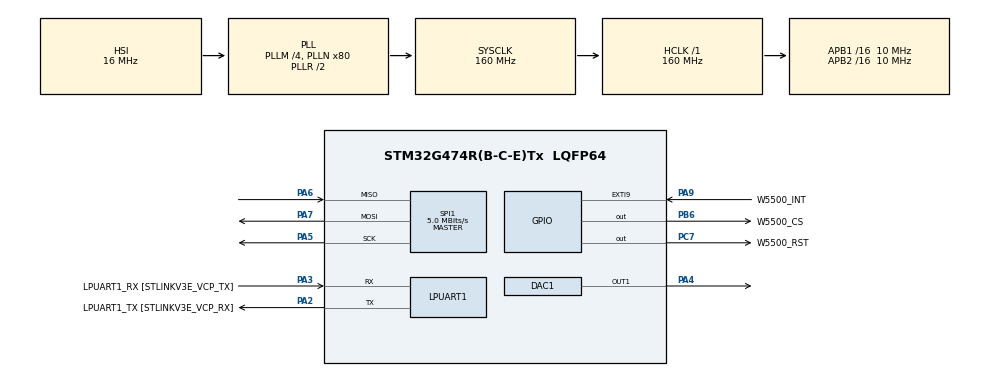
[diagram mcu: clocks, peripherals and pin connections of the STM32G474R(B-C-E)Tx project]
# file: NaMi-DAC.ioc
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DAC1.DAC_HighFrequency_OUT1-DAC_OUT1=DAC_HIGH_FREQUENCY_INTERFACE_MODE_DISABLE
DAC1.DAC_Trigger_OUT1-DAC_OUT1=DAC_TRIGGER_T6_TRGO
Dma.DAC1_CH1.0.Direction=DMA_MEMORY_TO_PERIPH
Dma.DAC1_CH1.0.EventEnable=DISABLE
Dma.DAC1_CH1.0.Instance=DMA1_Channel1
Dma.DAC1_CH1.0.MemDataAlignment=DMA_MDATAALIGN_WORD
Dma.DAC1_CH1.0.MemInc=DMA_MINC_ENABLE
Dma.DAC1_CH1.0.Mode=DMA_NORMAL
Dma.DAC1_CH1.0.PeriphDataAlignment=DMA_PDATAALIGN_WORD
Dma.DAC1_CH1.0.PeriphInc=DMA_PINC_DISABLE
Dma.DAC1_CH1.0.Polarity=HAL_DMAMUX_REQ_GEN_RISING
Dma.DAC1_CH1.0.Priority=DMA_PRIORITY_LOW
Dma.DAC1_CH1.0.RequestNumber=1
Dma.DAC1_CH1.0.SignalID=NONE
Dma.DAC1_CH1.0.SyncEnable=DISABLE
Dma.DAC1_CH1.0.SyncPolarity=HAL_DMAMUX_SYNC_NO_EVENT
Dma.DAC1_CH1.0.SyncRequestNumber=1
Dma.DAC1_CH1.0.SyncSignalID=NONE
Dma.Request0=DAC1_CH1
Mcu.Family=STM32G4
Mcu.Name=STM32G474R(B-C-E)Tx
Mcu.Package=LQFP64
NVIC.DMA1_Channel1_IRQn=true\:0\:0\:false\:false\:true\:false\:true\:true
NVIC.PriorityGroup=NVIC_PRIORITYGROUP_4
NVIC.TIM7_DAC_IRQn=true\:0\:0\:false\:false\:true\:true\:true\:true
PA2.GPIO_Label=LPUART1_TX [STLINKV3E_VCP_RX]
PA2.Mode=Asynchronous
PA2.Signal=LPUART1_TX
PA3.GPIO_Label=LPUART1_RX [STLINKV3E_VCP_TX]
PA3.Mode=Asynchronous
PA3.Signal=LPUART1_RX
PA4.Signal=COMP_DAC11_group
PA5.Mode=Full_Duplex_Master
PA5.Signal=SPI1_SCK
PA6.Mode=Full_Duplex_Master
PA6.Signal=SPI1_MISO
PA7.Mode=Full_Duplex_Master
PA7.Signal=SPI1_MOSI
PA9.GPIO_Label=W5500_INT
PA9.Signal=GPXTI9
PB6.GPIO_Label=W5500_CS
PB6.Signal=GPIO_Output
PC14-OSC32_IN.GPIO_Label=RCC_OSC32_IN
PC14-OSC32_IN.Signal=RCC_OSC32_IN
PC15-OSC32_OUT.GPIO_Label=RCC_OSC32_OUT
PC15-OSC32_OUT.Signal=RCC_OSC32_OUT
PC7.GPIO_Label=W5500_RST
PC7.Signal=GPIO_Output
PF0-OSC_IN.GPIO_Label=RCC_OSC_IN
PF0-OSC_IN.Signal=RCC_OSC_IN
PF1-OSC_OUT.GPIO_Label=RCC_OSC_OUT
PF1-OSC_OUT.Signal=RCC_OSC_OUT
ProjectManager.HeapSize=0x200
ProjectManager.StackSize=0x400
ProjectManager.TargetToolchain=STM32CubeIDE
RCC.ADC12Freq_Value=160000000
RCC.ADC345Freq_Value=160000000
RCC.AHBFreq_Value=160000000
RCC.APB1CLKDivider=RCC_HCLK_DIV16
RCC.APB1Freq_Value=10000000
RCC.APB1TimFreq_Value=20000000
RCC.APB2CLKDivider=RCC_HCLK_DIV16
RCC.APB2Freq_Value=10000000
RCC.APB2TimFreq_Value=20000000
RCC.CortexFreq_Value=160000000
RCC.EXTERNAL_CLOCK_VALUE=12288000
RCC.HCLKFreq_Value=160000000
RCC.HSE_VALUE=24000000
RCC.HSI48_VALUE=48000000
RCC.HSI_VALUE=16000000
RCC.LSE_VALUE=32768
RCC.PLLM=RCC_PLLM_DIV4
RCC.PLLN=80
RCC.RTCClockSelection=RCC_RTCCLKSOURCE_LSE
RCC.SYSCLKFreq_VALUE=160000000
RCC.SYSCLKSource=RCC_SYSCLKSOURCE_PLLCLK
RCC.USBFreq_Value=160000000
RCC.VCOOutputFreq_Value=320000000
SH.COMP_DAC11_group.0=DAC1_OUT1,DAC_OUT1
SPI1.CalculateBaudRate=5.0 MBits/s
SPI1.DataSize=SPI_DATASIZE_8BIT
SPI1.Direction=SPI_DIRECTION_2LINES
SPI1.Mode=SPI_MODE_MASTER
SPI1.VirtualType=VM_MASTER
TIM6.AutoReloadPreload=TIM_AUTORELOAD_PRELOAD_ENABLE
TIM6.Prescaler=19
TIM6.TIM_MasterOutputTrigger=TIM_TRGO_UPDATE
TIM7.Prescaler=19999
TIM7.TIM_MasterOutputTrigger=TIM_TRGO_UPDATE
VP_SYS_VS_DBSignals.Mode=DisableDeadBatterySignals
VP_TIM6_VS_ClockSourceINT.Mode=Enable_Timer
VP_TIM7_VS_ClockSourceINT.Mode=Enable_Timer
board=NUCLEO-G474RE

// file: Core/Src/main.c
/* USER CODE BEGIN Header */
/**
  ******************************************************************************
  * @file           : main.c
  * @brief          : Main program body
  ******************************************************************************
  * @attention
  *
  * Copyright (c) 2025 STMicroelectronics.
  * All rights reserved.
  *
  * This software is licensed under terms that can be found in the LICENSE file
  * in the root directory of this software component.
  * If no LICENSE file comes with this software, it is provided AS-IS.
  *
  ******************************************************************************
  */
/* USER CODE END Header */
#include "main.h"

/* USER CODE BEGIN Includes */
#include "nami_protocol.h"
#include "socket.h"
#include <stdio.h>
#include <string.h>
#include <stdlib.h>
#include <math.h>
/* USER CODE END Includes */

/* USER CODE BEGIN PTD */
typedef struct {
    int dir;
    float vmax;
    uint32_t rise_time_ms;
    uint32_t slip_time_ms;
    uint32_t pause_time_ms;
    int32_t steps;
    uint8_t curve_percent;
} GeneratorConfig_t;
/* USER CODE END PTD */

/* USER CODE BEGIN PD */
#define V_REF 3.3f
#define RAMP_BUFFER_SIZE 512
/* USER CODE END PD */

DAC_HandleTypeDef hdac1;
DMA_HandleTypeDef hdma_dac1_ch1;

UART_HandleTypeDef hlpuart1;

SPI_HandleTypeDef hspi1;

TIM_HandleTypeDef htim6;
TIM_HandleTypeDef htim7;

/* USER CODE BEGIN PV */
const NaMi_Device_Info g_device_info = {
    .device_id        = "stm32_dac_001",
    .type             = "dac",
    .version          = "1.0_hw",
    .software_version = "1.0_fw",
    .tcp_port         = 6000
};

const NaMi_Network_Config g_network_config = {
    .mac = {0x02, 0x08, 0xDC, 0xAA, 0xBB, 0xCC},
    .ip  = {192, 168, 0, 123},
    .subnet_mask = {255, 255, 255, 0},
    .gateway = {192, 168, 0, 1}
};

const NaMi_Hardware_Config g_hardware_config = {
    .spi_handle = &hspi1,
    .cs_port    = W5500_CS_GPIO_Port,
    .cs_pin     = W5500_CS_Pin,
    .rst_port   = W5500_RST_GPIO_Port,
    .rst_pin    = W5500_RST_Pin
};

GeneratorConfig_t config;
uint32_t dac_buffer[RAMP_BUFFER_SIZE];
volatile int32_t steps_remaining = 0;
volatile uint8_t generator_running = 0;
volatile uint8_t pause_active = 0;
/* USER CODE END PV */

void SystemClock_Config(void);
static void MX_GPIO_Init(void);
static void MX_DMA_Init(void);
static void MX_DAC1_Init(void);
static void MX_LPUART1_UART_Init(void);
static void MX_SPI1_Init(void);
static void MX_TIM6_Init(void);
static void MX_TIM7_Init(void);
/* USER CODE BEGIN PFP */
void handle_device_commands(cJSON *command, char* session_id);
void send_json_response(const char* status, const char* message);
void send_json_event(const char* event_type, const char* message);

void init_default_config(void);
void generate_stick_curve(void);
void start_generator(void);
void stop_generator(void);
void start_single_cycle(void);
void start_pause(void);
/* USER CODE END PFP */

/* USER CODE BEGIN 0 */
extern UART_HandleTypeDef hlpuart1;

int _write(int file, char *ptr, int len)
{
	HAL_UART_Transmit(&hlpuart1, (uint8_t*)ptr, len, HAL_MAX_DELAY);
	return len;
}

void init_default_config(void) {
    config.dir = 1;
    config.vmax = 2.5f;
    config.rise_time_ms = 200;
    config.slip_time_ms = 50;
    config.pause_time_ms = 100;
    config.steps = 0;
    config.curve_percent = 0;
}

void generate_stick_curve(void) {
    uint32_t v_max_dac = (uint32_t)((config.vmax / V_REF) * 4095.0f);
    if (v_max_dac > 4095) v_max_dac = 4095;

    uint32_t total_time = config.rise_time_ms + config.slip_time_ms;
    if (total_time == 0) total_time = 1;
    uint32_t rise_points = (config.rise_time_ms * RAMP_BUFFER_SIZE) / total_time;
    if (rise_points < 2) rise_points = 2;
    if (rise_points > RAMP_BUFFER_SIZE - 2) rise_points = RAMP_BUFFER_SIZE - 2;
    uint32_t slip_points = RAMP_BUFFER_SIZE - rise_points;

    float curve_factor = 1.0f + (config.curve_percent / 100.0f) * 4.0f;

    for (uint32_t i = 0; i < rise_points; i++) {
        float progress = (float)i / (float)(rise_points - 1);
        float curve_value = (config.dir == 1)
            ? pow(progress, curve_factor) * (float)v_max_dac
            : (float)v_max_dac * (1.0f - pow(progress, curve_factor));
        dac_buffer[i] = (uint32_t)(fminf(4095.0f, fmaxf(0.0f, curve_value)) + 0.5f);
    }

    uint32_t last_rise_value = dac_buffer[rise_points - 1];
    for (uint32_t i = 0; i < slip_points; i++) {
        float progress = (float)i / (float)(slip_points - 1);
        float slip_value_f = (float)last_rise_value - ((float)last_rise_value * progress);
        dac_buffer[rise_points + i] = (uint32_t)(fminf(4095.0f, fmaxf(0.0f, slip_value_f)) + 0.5f);
    }
    dac_buffer[RAMP_BUFFER_SIZE - 1] = 0;
}

void start_generator() {
    stop_generator();
    generate_stick_curve();

    uint32_t total_time_ms = config.rise_time_ms + config.slip_time_ms;
    if (total_time_ms == 0) total_time_ms = 1;
    uint32_t timer_period_us = (total_time_ms * 1000) / RAMP_BUFFER_SIZE;
    if (timer_period_us == 0) timer_period_us = 1;
    __HAL_TIM_SET_AUTORELOAD(&htim6, timer_period_us - 1);

    steps_remaining = config.steps;
    generator_running = 1;
    pause_active = 0;
    start_single_cycle();
    printf("INFO: Generator started.\n");
}

void stop_generator() {
    if (generator_running) {
        printf("INFO: Generator stopped.\n");
    }
    generator_running = 0;
    pause_active = 0;
    HAL_TIM_Base_Stop(&htim6);
    HAL_TIM_Base_Stop_IT(&htim7);
    HAL_DAC_Stop_DMA(&hdac1, DAC_CHANNEL_1);
    HAL_DAC_SetValue(&hdac1, DAC_CHANNEL_1, DAC_ALIGN_12B_R, 0);
}

void start_single_cycle(void) {
    if (!generator_running) return;
    pause_active = 0;
    HAL_DAC_SetValue(&hdac1, DAC_CHANNEL_1, DAC_ALIGN_12B_R, 0);
    HAL_TIM_Base_Start(&htim6);
    HAL_DAC_Start_DMA(&hdac1, DAC_CHANNEL_1, (uint32_t*)dac_buffer, RAMP_BUFFER_SIZE, DAC_ALIGN_12B_R);
}

void start_pause(void) {
    if (!generator_running) return;
    if (config.pause_time_ms == 0) {
        start_single_cycle();
        return;
    }
    pause_active = 1;
    HAL_DAC_SetValue(&hdac1, DAC_CHANNEL_1, DAC_ALIGN_12B_R, 0);

    uint32_t prescaler = (HAL_RCC_GetPCLK1Freq() / 1000) - 1;
    htim7.Instance->PSC = prescaler;
    uint32_t pause_value = config.pause_time_ms;
    if (pause_value > 65535) pause_value = 65535;
    if (pause_value == 0) pause_value = 1;
    __HAL_TIM_SET_AUTORELOAD(&htim7, pause_value - 1);
    __HAL_TIM_SET_COUNTER(&htim7, 0);
    HAL_TIM_Base_Start_IT(&htim7);
}

void HAL_DAC_ConvCpltCallbackCh1(DAC_HandleTypeDef *hdac) {
    if (!generator_running) return;
    HAL_TIM_Base_Stop(&htim6);

    if (steps_remaining > 0) {
        steps_remaining--;
        if (steps_remaining == 0 && config.steps != 0) {
            stop_generator();
            printf("EVENT: Generator finished steps.\n");
            send_json_event("generator_finished_steps", "All steps completed.");
            return;
        }
    }
    start_pause();
}

void HAL_TIM_PeriodElapsedCallback(TIM_HandleTypeDef *htim) {
    if (htim->Instance == TIM7) {
        HAL_TIM_Base_Stop_IT(&htim7);
        if (!generator_running || !pause_active) return;
        start_single_cycle();
    }
}
/* USER CODE END 0 */

int main(void)
{

  /* MCU Configuration--------------------------------------------------------*/

  /* Reset of all peripherals, Initializes the Flash interface and the Systick. */
  HAL_Init();

  /* Configure the system clock */
  SystemClock_Config();

  /* Initialize all configured peripherals */
  MX_GPIO_Init();
  MX_DMA_Init();
  MX_DAC1_Init();
  MX_LPUART1_UART_Init();
  MX_SPI1_Init();
  MX_TIM6_Init();
  MX_TIM7_Init();
  /* USER CODE BEGIN 2 */
  printf("--- NaMi DAC Generator ---\r\n");
  init_default_config();

  if (NaMi_Init(&g_hardware_config, &g_network_config, &g_device_info, handle_device_commands) != 0) {
        printf("FATAL: NaMi Protocol Init failed.\r\n");
        Error_Handler();
  }
  /* USER CODE END 2 */

  /* Infinite loop */
  while (1)
  {

    /* USER CODE BEGIN 3 */
	  NaMi_Process();
  }
  /* USER CODE END 3 */
}

void SystemClock_Config(void)
{
  RCC_OscInitTypeDef RCC_OscInitStruct = {0};
  RCC_ClkInitTypeDef RCC_ClkInitStruct = {0};

  /** Configure the main internal regulator output voltage
  */
  HAL_PWREx_ControlVoltageScaling(PWR_REGULATOR_VOLTAGE_SCALE1_BOOST);

  /** Initializes the RCC Oscillators according to the specified parameters
  * in the RCC_OscInitTypeDef structure.
  */
  RCC_OscInitStruct.OscillatorType = RCC_OSCILLATORTYPE_HSI;
  RCC_OscInitStruct.HSIState = RCC_HSI_ON;
  RCC_OscInitStruct.HSICalibrationValue = RCC_HSICALIBRATION_DEFAULT;
  RCC_OscInitStruct.PLL.PLLState = RCC_PLL_ON;
  RCC_OscInitStruct.PLL.PLLSource = RCC_PLLSOURCE_HSI;
  RCC_OscInitStruct.PLL.PLLM = RCC_PLLM_DIV4;
  RCC_OscInitStruct.PLL.PLLN = 80;
  RCC_OscInitStruct.PLL.PLLP = RCC_PLLP_DIV2;
  RCC_OscInitStruct.PLL.PLLQ = RCC_PLLQ_DIV2;
  RCC_OscInitStruct.PLL.PLLR = RCC_PLLR_DIV2;
  if (HAL_RCC_OscConfig(&RCC_OscInitStruct) != HAL_OK)
  {
    Error_Handler();
  }

  /** Initializes the CPU, AHB and APB buses clocks
  */
  RCC_ClkInitStruct.ClockType = RCC_CLOCKTYPE_HCLK|RCC_CLOCKTYPE_SYSCLK
                              |RCC_CLOCKTYPE_PCLK1|RCC_CLOCKTYPE_PCLK2;
  RCC_ClkInitStruct.SYSCLKSource = RCC_SYSCLKSOURCE_PLLCLK;
  RCC_ClkInitStruct.AHBCLKDivider = RCC_SYSCLK_DIV1;
  RCC_ClkInitStruct.APB1CLKDivider = RCC_HCLK_DIV16;
  RCC_ClkInitStruct.APB2CLKDivider = RCC_HCLK_DIV16;

  if (HAL_RCC_ClockConfig(&RCC_ClkInitStruct, FLASH_LATENCY_4) != HAL_OK)
  {
    Error_Handler();
  }
}

static void MX_DAC1_Init(void)
{

  DAC_ChannelConfTypeDef sConfig = {0};

  /** DAC Initialization
  */
  hdac1.Instance = DAC1;
  if (HAL_DAC_Init(&hdac1) != HAL_OK)
  {
    Error_Handler();
  }

  /** DAC channel OUT1 config
  */
  sConfig.DAC_HighFrequency = DAC_HIGH_FREQUENCY_INTERFACE_MODE_DISABLE;
  sConfig.DAC_DMADoubleDataMode = DISABLE;
  sConfig.DAC_SignedFormat = DISABLE;
  sConfig.DAC_SampleAndHold = DAC_SAMPLEANDHOLD_DISABLE;
  sConfig.DAC_Trigger = DAC_TRIGGER_T6_TRGO;
  sConfig.DAC_Trigger2 = DAC_TRIGGER_NONE;
  sConfig.DAC_OutputBuffer = DAC_OUTPUTBUFFER_ENABLE;
  sConfig.DAC_ConnectOnChipPeripheral = DAC_CHIPCONNECT_EXTERNAL;
  sConfig.DAC_UserTrimming = DAC_TRIMMING_FACTORY;
  if (HAL_DAC_ConfigChannel(&hdac1, &sConfig, DAC_CHANNEL_1) != HAL_OK)
  {
    Error_Handler();
  }

}

static void MX_LPUART1_UART_Init(void)
{

  hlpuart1.Instance = LPUART1;
  hlpuart1.Init.BaudRate = 209700;
  hlpuart1.Init.WordLength = UART_WORDLENGTH_8B;
  hlpuart1.Init.StopBits = UART_STOPBITS_1;
  hlpuart1.Init.Parity = UART_PARITY_NONE;
  hlpuart1.Init.Mode = UART_MODE_TX_RX;
  hlpuart1.Init.HwFlowCtl = UART_HWCONTROL_NONE;
  hlpuart1.Init.OneBitSampling = UART_ONE_BIT_SAMPLE_DISABLE;
  hlpuart1.Init.ClockPrescaler = UART_PRESCALER_DIV1;
  hlpuart1.AdvancedInit.AdvFeatureInit = UART_ADVFEATURE_NO_INIT;
  if (HAL_UART_Init(&hlpuart1) != HAL_OK)
  {
    Error_Handler();
  }
  if (HAL_UARTEx_SetTxFifoThreshold(&hlpuart1, UART_TXFIFO_THRESHOLD_1_8) != HAL_OK)
  {
    Error_Handler();
  }
  if (HAL_UARTEx_SetRxFifoThreshold(&hlpuart1, UART_RXFIFO_THRESHOLD_1_8) != HAL_OK)
  {
    Error_Handler();
  }
  if (HAL_UARTEx_DisableFifoMode(&hlpuart1) != HAL_OK)
  {
    Error_Handler();
  }

}

static void MX_SPI1_Init(void)
{

  /* SPI1 parameter configuration*/
  hspi1.Instance = SPI1;
  hspi1.Init.Mode = SPI_MODE_MASTER;
  hspi1.Init.Direction = SPI_DIRECTION_2LINES;
  hspi1.Init.DataSize = SPI_DATASIZE_8BIT;
  hspi1.Init.CLKPolarity = SPI_POLARITY_LOW;
  hspi1.Init.CLKPhase = SPI_PHASE_1EDGE;
  hspi1.Init.NSS = SPI_NSS_SOFT;
  hspi1.Init.BaudRatePrescaler = SPI_BAUDRATEPRESCALER_2;
  hspi1.Init.FirstBit = SPI_FIRSTBIT_MSB;
  hspi1.Init.TIMode = SPI_TIMODE_DISABLE;
  hspi1.Init.CRCCalculation = SPI_CRCCALCULATION_DISABLE;
  hspi1.Init.CRCPolynomial = 7;
  hspi1.Init.CRCLength = SPI_CRC_LENGTH_DATASIZE;
  hspi1.Init.NSSPMode = SPI_NSS_PULSE_ENABLE;
  if (HAL_SPI_Init(&hspi1) != HAL_OK)
  {
    Error_Handler();
  }

}

static void MX_TIM6_Init(void)
{

  TIM_MasterConfigTypeDef sMasterConfig = {0};

  htim6.Instance = TIM6;
  htim6.Init.Prescaler = 19;
  htim6.Init.CounterMode = TIM_COUNTERMODE_UP;
  htim6.Init.Period = 65535;
  htim6.Init.AutoReloadPreload = TIM_AUTORELOAD_PRELOAD_ENABLE;
  if (HAL_TIM_Base_Init(&htim6) != HAL_OK)
  {
    Error_Handler();
  }
  sMasterConfig.MasterOutputTrigger = TIM_TRGO_UPDATE;
  sMasterConfig.MasterSlaveMode = TIM_MASTERSLAVEMODE_DISABLE;
  if (HAL_TIMEx_MasterConfigSynchronization(&htim6, &sMasterConfig) != HAL_OK)
  {
    Error_Handler();
  }

}

static void MX_TIM7_Init(void)
{

  TIM_MasterConfigTypeDef sMasterConfig = {0};

  htim7.Instance = TIM7;
  htim7.Init.Prescaler = 19999;
  htim7.Init.CounterMode = TIM_COUNTERMODE_UP;
  htim7.Init.Period = 65535;
  htim7.Init.AutoReloadPreload = TIM_AUTORELOAD_PRELOAD_DISABLE;
  if (HAL_TIM_Base_Init(&htim7) != HAL_OK)
  {
    Error_Handler();
  }
  sMasterConfig.MasterOutputTrigger = TIM_TRGO_UPDATE;
  sMasterConfig.MasterSlaveMode = TIM_MASTERSLAVEMODE_DISABLE;
  if (HAL_TIMEx_MasterConfigSynchronization(&htim7, &sMasterConfig) != HAL_OK)
  {
    Error_Handler();
  }

}

static void MX_DMA_Init(void)
{

  /* DMA controller clock enable */
  __HAL_RCC_DMAMUX1_CLK_ENABLE();
  __HAL_RCC_DMA1_CLK_ENABLE();

  /* DMA interrupt init */
  /* DMA1_Channel1_IRQn interrupt configuration */
  HAL_NVIC_SetPriority(DMA1_Channel1_IRQn, 0, 0);
  HAL_NVIC_EnableIRQ(DMA1_Channel1_IRQn);

}

static void MX_GPIO_Init(void)
{
  GPIO_InitTypeDef GPIO_InitStruct = {0};

  /* GPIO Ports Clock Enable */
  __HAL_RCC_GPIOC_CLK_ENABLE();
  __HAL_RCC_GPIOF_CLK_ENABLE();
  __HAL_RCC_GPIOA_CLK_ENABLE();
  __HAL_RCC_GPIOB_CLK_ENABLE();

  /*Configure GPIO pin Output Level */
  HAL_GPIO_WritePin(W5500_RST_GPIO_Port, W5500_RST_Pin, GPIO_PIN_RESET);

  /*Configure GPIO pin Output Level */
  HAL_GPIO_WritePin(W5500_CS_GPIO_Port, W5500_CS_Pin, GPIO_PIN_RESET);

  /*Configure GPIO pin : W5500_RST_Pin */
  GPIO_InitStruct.Pin = W5500_RST_Pin;
  GPIO_InitStruct.Mode = GPIO_MODE_OUTPUT_PP;
  GPIO_InitStruct.Pull = GPIO_NOPULL;
  GPIO_InitStruct.Speed = GPIO_SPEED_FREQ_LOW;
  HAL_GPIO_Init(W5500_RST_GPIO_Port, &GPIO_InitStruct);

  /*Configure GPIO pin : W5500_INT_Pin */
  GPIO_InitStruct.Pin = W5500_INT_Pin;
  GPIO_InitStruct.Mode = GPIO_MODE_IT_RISING;
  GPIO_InitStruct.Pull = GPIO_NOPULL;
  HAL_GPIO_Init(W5500_INT_GPIO_Port, &GPIO_InitStruct);

  /*Configure GPIO pin : W5500_CS_Pin */
  GPIO_InitStruct.Pin = W5500_CS_Pin;
  GPIO_InitStruct.Mode = GPIO_MODE_OUTPUT_PP;
  GPIO_InitStruct.Pull = GPIO_NOPULL;
  GPIO_InitStruct.Speed = GPIO_SPEED_FREQ_LOW;
  HAL_GPIO_Init(W5500_CS_GPIO_Port, &GPIO_InitStruct);

}

/* USER CODE BEGIN 4 */
void send_json_response(const char* status, const char* message) {
    cJSON *resp_json = cJSON_CreateObject();
    if (resp_json == NULL) {
        printf("ERROR: cJSON_CreateObject failed.\n");
        return;
    }
    cJSON_AddStringToObject(resp_json, "status", status);
    cJSON_AddStringToObject(resp_json, "message", message);

    char* response_string = cJSON_PrintUnformatted(resp_json);
    if (response_string) {
        send(1, (uint8_t*)response_string, strlen(response_string));
        free(response_string);
    }
    cJSON_Delete(resp_json);
}

void send_json_event(const char* event_type, const char* message) {
    cJSON *event_json = cJSON_CreateObject();
    if (event_json == NULL) {
        printf("ERROR: cJSON_CreateObject for event failed.\n");
        return;
    }
    cJSON_AddStringToObject(event_json, "event", event_type);
    cJSON_AddStringToObject(event_json, "message", message);

    char* event_string = cJSON_PrintUnformatted(event_json);
    if (event_string) {
        send(1, (uint8_t*)event_string, strlen(event_string));
        free(event_string);
    }
    cJSON_Delete(event_json);
}

void handle_device_commands(cJSON *command, char* session_id) {
    cJSON *cmd_item = cJSON_GetObjectItem(command, "cmd");
    if (!cJSON_IsString(cmd_item)) return;

    char* cmd_string = cmd_item->valuestring;
    printf("CMD: Received command '%s'\n", cmd_string);

    if (strcmp(cmd_string, "stop") == 0) {
        stop_generator();
        send_json_response("OK", "Generator stopped");
    }
    else if (strcmp(cmd_string, "config") == 0) {
        cJSON *params = cJSON_GetObjectItem(command, "params");
        if (cJSON_IsObject(params)) {
            cJSON *dir_item = cJSON_GetObjectItem(params, "dir");
            cJSON *vmax_item = cJSON_GetObjectItem(params, "vmax");
            cJSON *rise_time_item = cJSON_GetObjectItem(params, "rise_time_ms");
            cJSON *slip_time_item = cJSON_GetObjectItem(params, "slip_time_ms");
            cJSON *pause_time_item = cJSON_GetObjectItem(params, "pause_time_ms");
            cJSON *curve_item = cJSON_GetObjectItem(params, "curve_percent");
            cJSON *steps_item = cJSON_GetObjectItem(params, "steps");

            if (cJSON_IsNumber(dir_item) && cJSON_IsNumber(vmax_item) && cJSON_IsNumber(rise_time_item) &&
                cJSON_IsNumber(slip_time_item) && cJSON_IsNumber(pause_time_item) && cJSON_IsNumber(curve_item) &&
                cJSON_IsNumber(steps_item))
            {
                config.dir = dir_item->valueint;
                config.vmax = vmax_item->valuedouble;
                config.rise_time_ms = rise_time_item->valueint;
                config.slip_time_ms = slip_time_item->valueint;
                config.pause_time_ms = pause_time_item->valueint;
                config.curve_percent = curve_item->valueint;
                config.steps = steps_item->valueint;

                printf("CONFIG: New config applied.\n");
                start_generator();
                send_json_response("OK", "Generator configured and started");
            } else {
                printf("ERROR: Invalid or missing parameters in 'config' command.\n");
                send_json_response("ERROR", "Invalid or missing parameters");
            }
        } else {
            printf("ERROR: 'config' command requires a 'params' object.\n");
            send_json_response("ERROR", "Missing 'params' object");
        }
    } else {
        printf("WARN: Unknown command '%s'\n", cmd_string);
        send_json_response("ERROR", "Unknown command");
    }
}
/* USER CODE END 4 */

void Error_Handler(void)
{
  __disable_irq();
  while (1)
  {
  }
}
